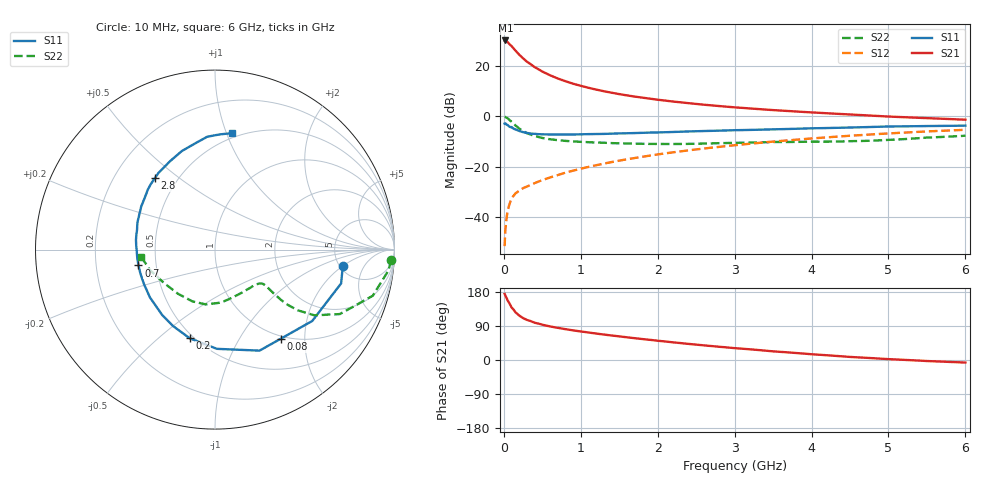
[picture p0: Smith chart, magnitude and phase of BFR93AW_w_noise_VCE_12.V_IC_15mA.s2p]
! Infineon Technologies  Discrete & RF Semiconductors
! BFR93AW
! VCE =  12. V,  IC =  15 mA
! Common Emitter S-Parameters:  Jan 2017
# GHz  S  MA  R  50
!  f  S11  S21  S12  S22
! GHz  MAG  ANG  MAG  ANG  MAG  ANG  MAG  ANG
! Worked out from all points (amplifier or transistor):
!   77 points, 10 MHz to 6 GHz, reference 50 ohm
!   highest |S21| = 30.3 dB at 20 MHz (marker M1)
!   |S21| within 3 dB of that: start of sweep to 121.6 MHz
!   unconditionally stable (mu >= 1): 797.5 MHz to 2.1 GHz
!   at 130 MHz: K = 0.37, MSG = 29.2 dB, |S12| = -31.5 dB
!   at 2.2 GHz: K = 0.99, MSG = 10.1 dB, |S12| = -14.3 dB
!   at 6 GHz: K = 0.85, MSG = 2.0 dB, |S12| = -5.3 dB
!   lowest NFmin = 1.37 dB at 450 MHz
!   S11 on the Smith chart (normalised r, x): 10 MHz: 5.28, -2.04; 80 MHz: 0.95, -1.53; 200 MHz: 0.48, -0.64; 700 MHz: 0.40, -0.09; 2.8 GHz: 0.38, +0.41; 6 GHz: 0.46, +1.04
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0.01  0.718 -7.5  32.49 174.5  0.0026 81.3  0.9829 -3.4
0.02  0.7275 -15.0  32.59 170.1  0.0055 85.9  0.9732 -6.9
0.05  0.672 -36.3  30.12 156.8  0.0132 71.0  0.9159 -16.3
0.08  0.6169 -53.7  26.84 146.8  0.0191 65.1  0.8324 -22.5
0.1  0.6152 -66.2  25.21 138.8  0.0231 62.8  0.783 -27.3
0.15  0.553 -88.9  20.55 126.2  0.0291 57.0  0.663 -33.5
0.2  0.5137 -105.9  16.98 117.3  0.0332 55.1  0.5736 -36.2
0.25  0.4858 -118.8  14.36 110.6  0.0372 55.2  0.5102 -37.2
0.3  0.4684 -128.9  12.31 105.8  0.04 55.4  0.4634 -37.3
0.4  0.4499 -143.6  9.609 98.4  0.0468 57.5  0.4063 -36.7
0.5  0.4399 -154.1  7.823 93.1  0.0538 59.6  0.3717 -36.0
0.6  0.4365 -162.1  6.609 88.6  0.0607 60.7  0.3506 -35.5
0.7  0.4355 -168.3  5.701 84.9  0.0677 63.2  0.3365 -35.4
0.9  0.436 -178.9  4.483 78.2  0.083 65.3  0.318 -36.4
1.1  0.4437 172.9  3.718 72.6  0.0987 66.3  0.3065 -38.6
1.5  0.4587 160.1  2.781 62.4  0.1314 66.8  0.2912 -45.4
2.1  0.4841 144.7  2.064 48.8  0.1837 64.8  0.282 -60.5
2.8  0.5204 130.1  1.608 34.9  0.2473 60.7  0.2931 -80.9
3.1  0.5343 124.3  1.478 29.8  0.276 58.2  0.2988 -89.1
4.1  0.5828 107.0  1.179 13.9  0.3731 48.8  0.3139 -117.0
5.1  0.632 92.7  0.979 1.4  0.4666 37.8  0.3464 -150.6
6  0.6552 81.8  0.86 -6.8  0.5415 27.3  0.4122 -174.1
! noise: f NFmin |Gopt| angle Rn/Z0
0.45  1.37  0.12  133  0.13
0.9  1.66  0.23  164  0.14
1.9  2.67  0.47  -144  0.2
2.4  3.3  0.54  -129  0.4
